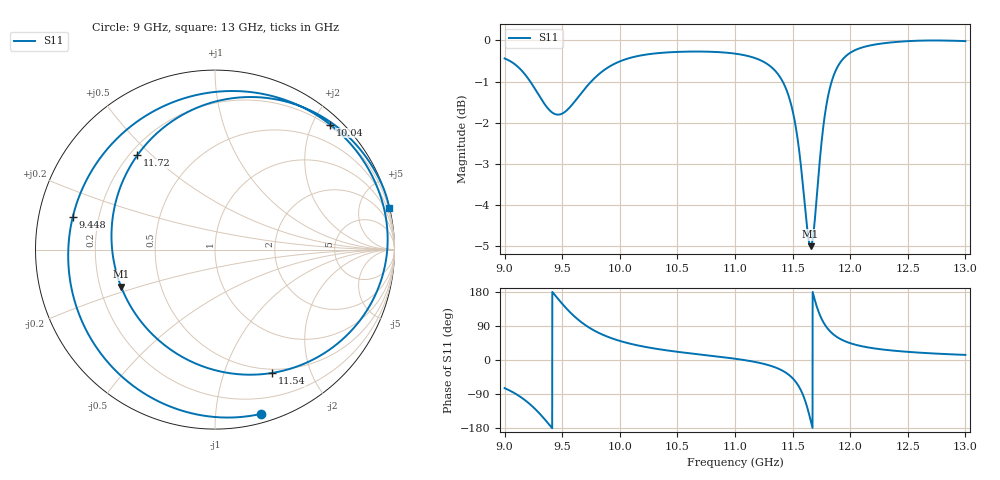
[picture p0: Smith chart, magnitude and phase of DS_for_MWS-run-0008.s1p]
! TOUCHSTONE file generated by CST DESIGN STUDIO
! Date and time: Tue Feb  4 12:52:50 2025
! Project name: C:\Work\MatlabApps\UnitCellOptimizationMatlab\CST\unitcell.cst
! Tree item: Tasks\Sweep1\SPara1\S-Parameters
! Header version: 2024
! Port assignment regex: !\s*Touchstone port\s*([0-9]+)\s*=\s*(CST MWS port|CST DES external port|CST DES block port)\s*(.+)\s* \(\"(.*)\"\)(\s*mode\s*([0-9]+))?.*
! Touchstone port assignment:
! Touchstone port 1 = CST DES external port 1 ("")
# GHz S MA R 50
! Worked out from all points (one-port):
!   4001 points, 9 GHz to 13 GHz, reference 50 ohm
!   lowest |S11| = -5.0 dB at 11.66 GHz (marker M1), VSWR 3.57, Z = 14.5 - j8.75 ohm
!   |S11| at or under -10 dB: nowhere
!   S11 on the Smith chart (normalised r, x): 9 GHz: 0.07, -1.32; 9.448 GHz: 0.10, +0.11; 10.04 GHz: 0.17, +2.27; 11.54 GHz: 0.45, -1.46; 11.72 GHz: 0.23, +0.45; 13 GHz: 0.07, +8.46
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9  0.9507 -74.2
9.13  0.9247 -95.8
9.23  0.8881 -119.3
9.35  0.8358 -157.1
9.448  0.813 167.1
9.5  0.815 148.4
9.592  0.8374 119.0
9.69  0.8714 94.4
9.838  0.9146 68.6
10  0.943 50.4
10.035  0.9471 47.3
10.5  0.9683 21.6
11  0.9637 3.4
11.337  0.9222 -18.1
11.43  0.882 -31.3
11.5  0.8217 -48.1
11.545  0.7568 -65.3
11.604  0.6347 -103.2
11.656  0.5626 -158.4
11.688  0.5956 163.6
11.723  0.6808 129.4
11.762  0.7763 102.6
11.808  0.8559 81.6
11.891  0.9291 59.5
12  0.9659 44.4
12.188  0.9869 31.5
12.5  0.9979 21.5
13  0.998 13.5
